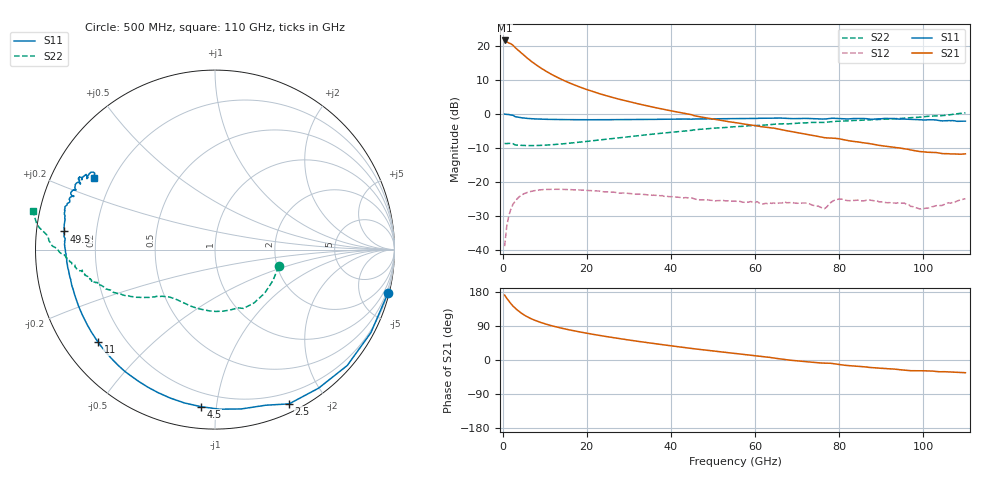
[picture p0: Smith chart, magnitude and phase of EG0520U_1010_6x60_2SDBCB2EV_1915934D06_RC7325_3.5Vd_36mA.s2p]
!File name = EG0520U_1010_6x60_2SDBCB2EV_1915934D06_RC7325_3.5Vd_36mA.s2p
!Base file name = EG0520U_1010_6x60_2SDBCB2EV_1915934D06_RC7325
!Date = 8/23/2019
!Time = 1:10 PM
!Test duration(min) = 0.15
!Test = S-Parameters
!MPTS version = 8.91.5
!State File = C:\Data\PNA\20190821205423\S-Parameters_2019-08-23.sta
!Cal File =
!ComputerName = CMPE-LAB-6
!Comments =
!Attenuation = 0
!Z0 = 50
!Input Power(dBm) = -13.00
!Device ID = EG0520U_1010_6x60_2SDBCB2EV
!Row = 73
!Column = 25
!Technology = QPHT09
!Lot/Wafer = 1915934D06
!Gate Size = 360
!Mask = EG0520
!Cal Standards = GaAs BCB
!Cal Kit = EG2306
!Job Number = 20190821205423
!Device Type = FET
!set_Vg(v) = -1.500
!set_Vd(v) = 3.500
!set_Vd(mA) = 36.000
!file_name = EG0520U_1010_6x60_2SDBCB2EV_1915934D06_RC7325_3.5Vd_36mA.s2p
!Vd(V) = 3.500
!Vd(mA) = 36.171
!Vg(V) = -0.555
!Vg(mA) = -0.003
# GHz  S  DB  R  50
!%	Freq(GHz)  s11(dB)  s11(deg)  s21(dB)  s21(deg)  s12(dB)  s12(deg)  s22(dB)  s22(deg)
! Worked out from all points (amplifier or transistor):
!   220 points, 500 MHz to 110 GHz, reference 50 ohm
!   highest |S21| = 21.6 dB at 500 MHz (marker M1)
!   |S21| within 3 dB of that: start of sweep to 3.835 GHz
!   unconditionally stable (mu >= 1): 33.48 GHz to 104.5 GHz
!   at 18.5 GHz: K = 0.53, MSG = 15.1 dB, |S12| = -22.4 dB
!   at 55.5 GHz: K = 1.53, MAG = 7.2 dB, |S12| = -25.7 dB
!   at 110 GHz: K = -1.78, MSG = 6.6 dB, |S12| = -25.0 dB
!   S11 on the Smith chart (normalised r, x): 500 MHz: 0.21, -8.03; 2.5 GHz: 0.08, -1.59; 4.5 GHz: 0.12, -0.91; 11 GHz: 0.10, -0.35; 49.5 GHz: 0.08, +0.06; 110 GHz: 0.13, +0.27
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0.5  -0.06 -14.2  21.64 171.3  -38.95 81.2  -8.70 -14.7
1  -0.14 -28.1  21.24 163.0  -33.17 73.9  -8.73 -28.2
1.5  -0.18 -41.2  20.90 155.8  -30.00 66.8  -8.68 -41.2
2  -0.32 -53.2  20.64 148.6  -27.97 60.1  -8.68 -53.9
2.5  -0.41 -64.4  20.21 142.2  -26.57 54.4  -8.78 -64.1
3  -0.80 -71.9  19.54 137.1  -25.74 50.1  -9.14 -68.4
3.5  -0.92 -80.6  19.00 132.0  -24.97 45.7  -9.19 -76.2
4.5  -1.12 -95.2  17.91 123.4  -23.93 38.2  -9.26 -89.5
5.5  -1.27 -106.9  16.84 116.4  -23.31 32.5  -9.33 -99.6
7  -1.43 -120.2  15.35 107.9  -22.75 25.9  -9.32 -110.6
9  -1.53 -132.5  13.61 99.5  -22.36 19.7  -9.27 -119.7
11  -1.60 -141.6  12.10 92.5  -22.22 15.0  -9.14 -126.1
14.5  -1.68 -152.5  9.89 82.8  -22.23 9.3  -8.79 -132.9
19  -1.71 -161.4  7.63 72.7  -22.45 4.5  -8.22 -137.8
27  -1.68 -171.2  4.56 57.9  -23.14 -0.1  -7.11 -143.2
37  -1.59 -179.0  1.68 41.9  -24.01 -1.4  -5.79 -148.9
49.5  -1.47 173.1  -1.40 24.5  -25.45 -0.4  -4.24 -157.2
55.5  -1.40 169.5  -2.60 17.1  -25.71 0.9  -3.73 -160.6
73.5  -1.39 159.8  -6.30 -6.0  -26.80 -4.3  -2.50 -170.0
92  -1.36 151.9  -9.67 -23.2  -26.13 -15.9  -1.50 -178.0
99.5  -1.72 150.1  -11.11 -28.3  -28.01 -17.1  -0.90 178.9
110  -2.13 149.5  -11.76 -33.6  -24.99 -13.8  0.31 168.1
